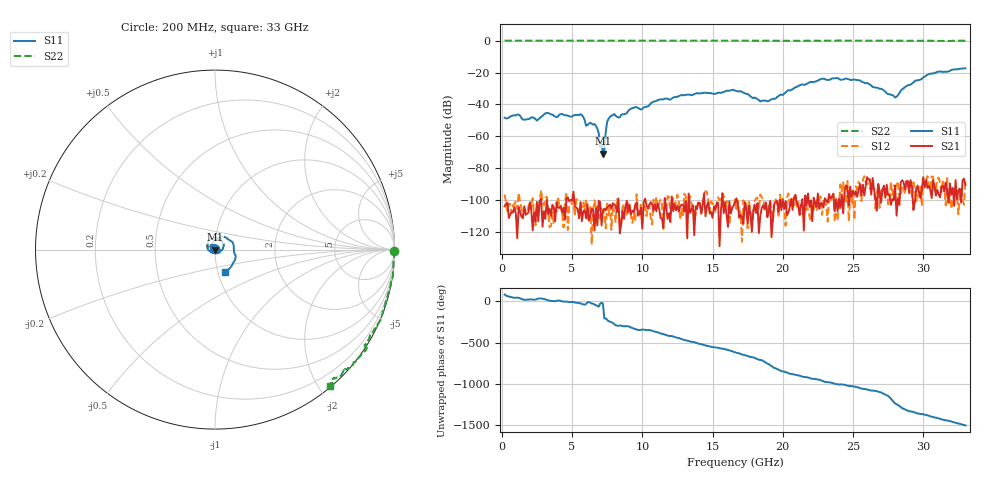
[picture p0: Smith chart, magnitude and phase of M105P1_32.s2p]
# GHZ S RI R 50
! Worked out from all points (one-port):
!   329 points, 200 MHz to 33 GHz, reference 50 ohm
!   lowest |S11| = -71.0 dB at 7.2 GHz (marker M1), VSWR 1.00, Z = 50 - j0.0132 ohm
!   |S11| at or under -10 dB: start of sweep to end of sweep
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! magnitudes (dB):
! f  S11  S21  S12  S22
! 200 MHz  -48.4  -103.9  -96.5  0.0
! 2.5 GHz  -50.2  -101.1  -102.4  0.0
! 3.2 GHz  -45.4  -99.9  -97.8  0.0
! 5.7 GHz  -46.7  -113.2  -104.4  0.0
! 6 GHz  -53.4  -111.4  -99.3  0.0
! 6.7 GHz  -53.6  -105.0  -105.5  0.0
! 6.9 GHz  -58.2  -100.5  -111.5  0.0
! 7 GHz  -66.8  -101.2  -102.6  0.0
! 7.1 GHz  -63.3  -115.9  -106.0  0.0
! 7.2 GHz  -71.0  -107.1  -105.9  0.0
! 7.3 GHz  -68.5  -105.3  -108.7  0.0
! 7.5 GHz  -50.8  -104.5  -100.9  0.0
! 7.7 GHz  -47.8  -103.0  -102.9  0.0
! 11.2 GHz  -37.0  -105.3  -102.0  0.0
! 16.6 GHz  -31.4  -101.8  -99.7  0.0
! 18.9 GHz  -38.1  -110.7  -106.7  -0.1
! 22.1 GHz  -26.0  -113.2  -106.2  -0.1
! 25.5 GHz  -25.0  -89.9  -90.5  0.0
! 27.6 GHz  -33.6  -97.1  -100.6  0.0
! 28 GHz  -35.7  -90.7  -91.7  0.0
! 30.4 GHz  -21.0  -91.1  -91.5  -0.1
! 33 GHz  -17.3  -90.3  -88.2  -0.1
